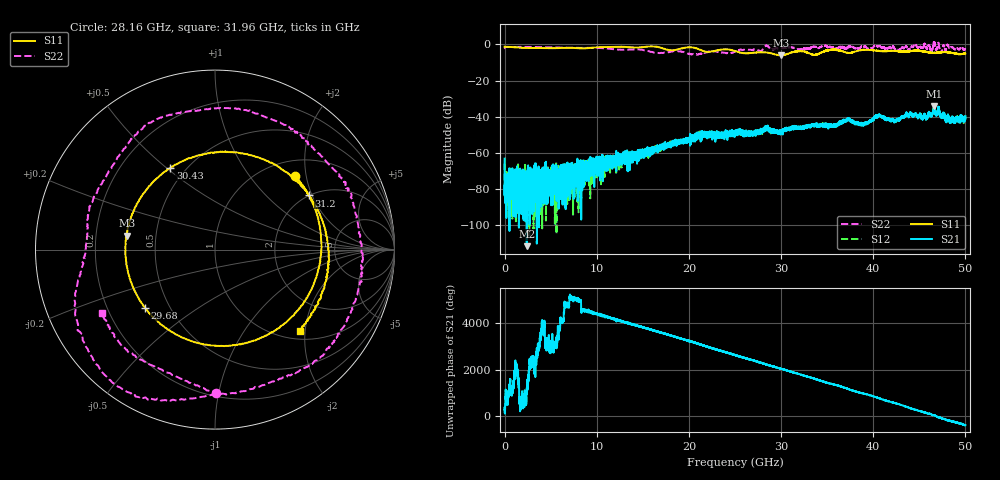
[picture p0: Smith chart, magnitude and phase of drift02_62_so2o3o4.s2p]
!Created with skrf (http://scikit-rf.org).
# Hz S RI R 50.0
!freq ReS11 ImS11 ReS21 ImS21 ReS12 ImS12 ReS22 ImS22
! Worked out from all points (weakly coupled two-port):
!   10001 points, 300 kHz to 50 GHz, reference 50 ohm
!   highest |S21| = -34.12 dB at 46.58 GHz (marker M1); lowest = -111.6 dB at 2.405 GHz (marker M2)
!   lowest |S11| = -6.1 dB at 30.04 GHz (marker M3), VSWR 2.98, Z = 16.9 + j3.47 ohm
!   |S11| at or under -10 dB: nowhere
!   |S22| runs from -5.7 to 2.2 dB; largest |S21 - S12| = 0.0037
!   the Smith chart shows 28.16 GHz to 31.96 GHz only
!   S11 on the Smith chart (normalised r, x): 28.16 GHz: 1.32, +1.72; 29.68 GHz: 0.36, -0.32; 30.43 GHz: 0.41, +0.52; 31.2 GHz: 1.99, +1.89; 31.96 GHz: 1.19, -1.87
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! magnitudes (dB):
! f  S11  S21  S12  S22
! 300 kHz  -1.3  -63.2  -65.6  -2.0
! 265.3 MHz  -1.4  -80.0  -79.1  -1.4
! 2.405 GHz  -2.0  -111.6  -79.7  -1.3
! 5.515 GHz  -2.1  -77.0  -71.4  -1.7
! 8.335 GHz  -2.2  -65.0  -67.3  -1.9
! 16.67 GHz  -1.5  -57.0  -56.5  -4.7
! 21.53 GHz  -3.6  -49.0  -50.1  -4.6
! 25 GHz  -3.7  -49.4  -49.3  -3.9
! 28.16 GHz  -4.3  -46.2  -47.6  -1.9
! 29.68 GHz  -5.9  -48.2  -48.8  -2.1
! 30.04 GHz  -6.1  -47.3  -47.4  -2.0
! 30.43 GHz  -5.7  -47.4  -46.7  -1.8
! 31.2 GHz  -4.4  -46.7  -46.3  -1.7
! 31.96 GHz  -3.7  -45.9  -45.6  -2.8
! 33.34 GHz  -5.5  -44.6  -44.9  -1.5
! 37.26 GHz  -4.7  -41.3  -41.8  -1.6
! 38.86 GHz  -3.1  -44.2  -44.3  -1.3
! 40.68 GHz  -3.7  -39.1  -39.0  -0.9
! 41.67 GHz  -3.7  -41.5  -41.5  -2.0
! 46.58 GHz  -4.7  -34.1  -34.4  1.7
! 48.52 GHz  -4.6  -41.0  -41.1  -1.5
! 50 GHz  -5.0  -39.7  -39.7  -2.7
